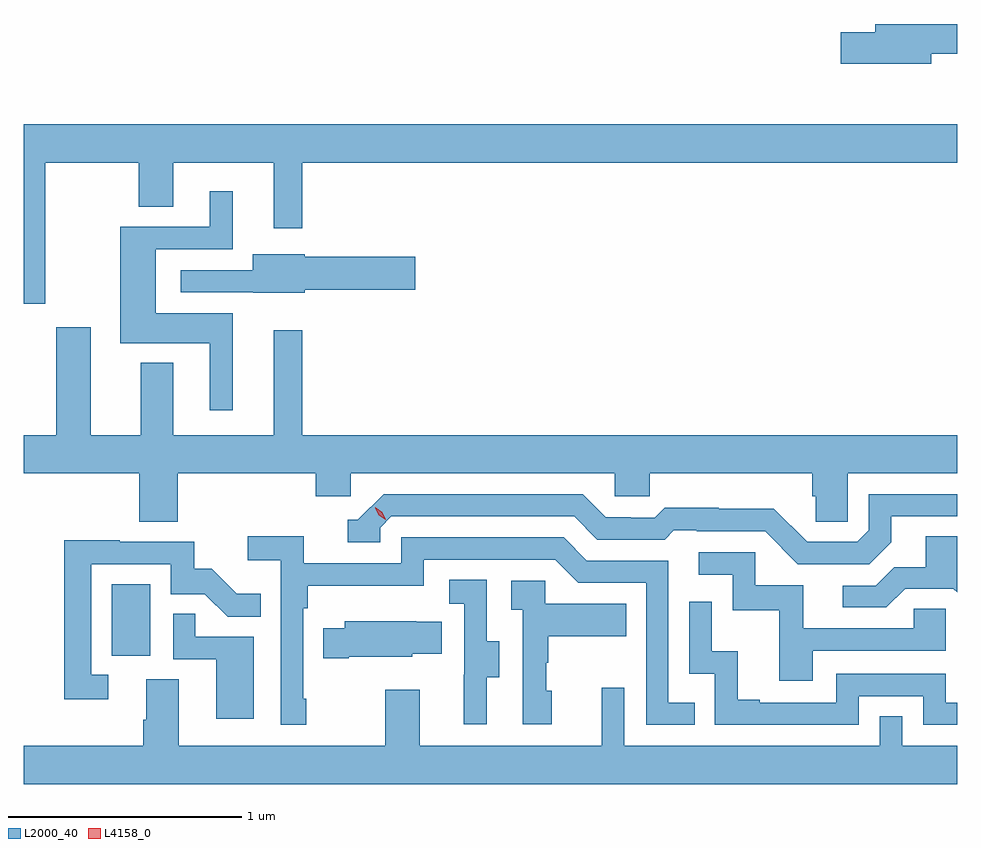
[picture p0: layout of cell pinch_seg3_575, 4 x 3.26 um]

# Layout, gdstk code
import gdstk
lib = gdstk.Library(unit=1e-6, precision=1e-09)
def R(c, l, rs):  # rectangles x0, y0, x1, y1
    for r in rs: c.add(gdstk.rectangle(r[:2], r[2:], *l))
def P(c, l, *ps):  # polygons
    for p in ps: c.add(gdstk.Polygon(p, *l))
L2000_40 = (2000, 40)
L4158_0 = (4158, 0)

pinch_seg3_575 = lib.new_cell('pinch_seg3_575')
R(pinch_seg3_575, L2000_40, [(1072.19,702.798,1072.354,703.105)])
P(pinch_seg3_575, L2000_40, [(1075.702,705.378),(1075.813,705.378),(1075.813,705.506),(1075.463,705.506),(1075.463,705.47),(1075.314,705.47),(1075.314,705.335),(1075.702,705.335)],
  [(1071.904,704.912),(1072.306,704.912),(1072.306,704.722),(1072.453,704.722),(1072.453,704.912),(1072.883,704.912),(1072.883,704.631),(1073.005,704.631),(1073.005,704.912),(1075.813,704.912),(1075.813,705.076),(1071.813,705.076),(1071.813,704.306),(1071.904,704.306)],
  [(1072.708,704.266),(1072.378,704.266),(1072.378,704.541),(1072.708,704.541),(1072.708,704.788),(1072.61,704.788),(1072.61,704.637),(1072.225,704.637),(1072.225,704.138),(1072.61,704.138),(1072.61,703.851),(1072.708,703.851)],
  [(1073.016,704.366),(1073.491,704.366),(1073.491,704.508),(1073.016,704.508),(1073.016,704.518),(1072.793,704.518),(1072.793,704.451),(1072.485,704.451),(1072.485,704.355),(1072.797,704.355),(1072.797,704.354),(1073.016,704.354)],
  [(1072.472,703.58),(1073.063,703.58),(1073.063,703.482),(1073.214,703.482),(1073.214,703.58),(1074.345,703.58),(1074.345,703.482),(1074.495,703.482),(1074.495,703.58),(1075.193,703.58),(1075.193,703.482),(1075.207,703.482),(1075.207,703.372),(1075.344,703.372),(1075.344,703.58),(1075.813,703.58),(1075.813,703.744),(1073.005,703.744),(1073.005,704.194),(1072.883,704.194),(1072.883,703.744),(1072.453,703.744),(1072.453,704.053),(1072.313,704.053),(1072.313,703.744),(1072.099,703.744),(1072.099,704.206),(1071.952,704.206),(1071.952,703.744),(1071.813,703.744),(1071.813,703.58),(1072.307,703.58),(1072.307,703.372),(1072.472,703.372)],
  [(1075.531,703.285),(1075.531,703.395),(1075.813,703.395),(1075.813,703.491),(1075.434,703.491),(1075.434,703.335),(1075.386,703.287),(1075.17,703.287),(1075.028,703.429),(1074.792,703.429),(1074.792,703.432),(1074.559,703.432),(1074.517,703.389),(1074.414,703.389),(1074.414,703.392),(1074.307,703.392),(1074.208,703.491),(1073.355,703.491),(1073.244,703.38),(1073.201,703.38),(1073.201,703.284),(1073.34,703.284),(1073.34,703.347),(1073.388,703.395),(1074.171,703.395),(1074.27,703.296),(1074.559,703.296),(1074.598,703.335),(1074.697,703.335),(1074.697,703.332),(1074.99,703.332),(1075.131,703.191),(1075.437,703.191)],
  [(1075.591,703.086),(1075.797,703.086),(1075.813,703.07),(1075.813,703.31),(1075.679,703.31),(1075.679,703.178),(1075.544,703.178),(1075.464,703.098),(1075.323,703.098),(1075.323,703.005),(1075.51,703.005)],
  [(1073.023,702.613),(1073.01,702.613),(1073.01,703.001),(1073.03,703.001),(1073.03,703.097),(1073.526,703.097),(1073.526,703.209),(1074.09,703.209),(1074.189,703.11),(1074.48,703.11),(1074.48,702.501),(1074.689,702.501),(1074.689,702.597),(1074.576,702.597),(1074.576,703.206),(1074.226,703.206),(1074.127,703.305),(1073.43,703.305),(1073.43,703.194),(1073.012,703.194),(1073.012,703.31),(1072.773,703.31),(1072.773,703.208),(1072.914,703.208),(1072.914,702.501),(1073.023,702.501)],
  [(1072.174,702.717),(1072.101,702.717),(1072.101,703.191),(1072.443,703.191),(1072.443,703.062),(1072.588,703.062),(1072.686,702.964),(1072.829,702.964),(1072.829,703.063),(1072.725,703.063),(1072.618,703.17),(1072.542,703.17),(1072.542,703.287),(1072.223,703.287),(1072.223,703.292),(1071.985,703.292),(1071.985,702.612),(1072.174,702.612)],
  [(1075.195,702.819),(1075.764,702.819),(1075.764,702.999),(1075.627,702.999),(1075.627,702.915),(1075.153,702.915),(1075.153,703.101),(1074.948,703.101),(1074.948,703.242),(1074.705,703.242),(1074.705,703.146),(1074.852,703.146),(1074.852,702.993),(1075.051,702.993),(1075.051,702.69),(1075.195,702.69)],
  [(1073.797,702.706),(1073.851,702.706),(1073.851,702.861),(1073.796,702.861),(1073.796,703.124),(1073.637,703.124),(1073.637,703.021),(1073.7,703.021),(1073.7,702.717),(1073.699,702.717),(1073.699,702.504),(1073.797,702.504)],
  [(1074.076,702.648),(1074.051,702.648),(1074.051,702.767),(1074.061,702.767),(1074.061,702.881),(1074.395,702.881),(1074.395,703.021),(1074.048,703.021),(1074.048,703.119),(1073.901,703.119),(1073.901,702.995),(1073.952,702.995),(1073.952,702.504),(1074.076,702.504)],
  [(1075.392,702.624),(1075.668,702.624),(1075.668,702.501),(1075.813,702.501),(1075.813,702.597),(1075.764,702.597),(1075.764,702.72),(1075.296,702.72),(1075.296,702.597),(1074.967,702.597),(1074.967,702.61),(1074.872,702.61),(1074.872,702.818),(1074.762,702.818),(1074.762,703.03),(1074.666,703.03),(1074.666,702.72),(1074.774,702.72),(1074.774,702.501),(1075.392,702.501)],
  [(1072.798,702.879),(1072.547,702.879),(1072.547,702.977),(1072.452,702.977),(1072.452,702.783),(1072.637,702.783),(1072.637,702.528),(1072.798,702.528)],
  [(1073.206,702.794),(1073.478,702.794),(1073.478,702.806),(1073.603,702.806),(1073.603,702.943),(1073.495,702.943),(1073.495,702.946),(1073.189,702.946),(1073.189,702.916),(1073.095,702.916),(1073.095,702.787),(1073.206,702.787)],
  [(1075.813,702.412),(1075.578,702.412),(1075.578,702.539),(1075.482,702.539),(1075.482,702.412),(1074.387,702.412),(1074.387,702.661),(1074.29,702.661),(1074.29,702.412),(1073.509,702.412),(1073.509,702.652),(1073.362,702.652),(1073.362,702.412),(1072.477,702.412),(1072.477,702.698),(1072.337,702.698),(1072.337,702.524),(1072.325,702.524),(1072.325,702.412),(1071.813,702.412),(1071.813,702.248),(1075.813,702.248)])
P(pinch_seg3_575, L4158_0, [(1073.364,703.381),(1073.333,703.401),(1073.318,703.433),(1073.318,703.434),(1073.318,703.434),(1073.348,703.414),(1073.364,703.381),(1073.364,703.381)])

lib.write_gds('pinch_seg3_575.gds')
